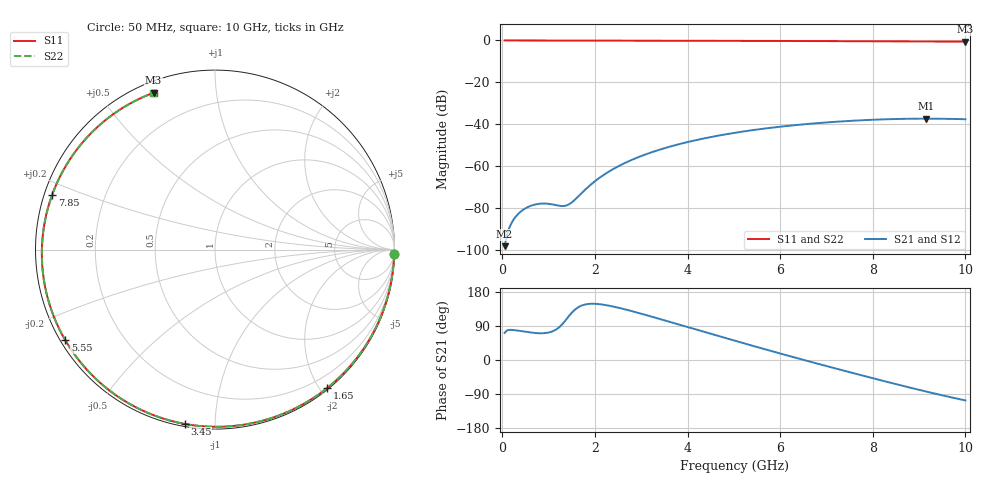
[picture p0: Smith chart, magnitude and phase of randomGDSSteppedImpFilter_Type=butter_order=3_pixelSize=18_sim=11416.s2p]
! freq	dB(S11)	phase(S11)	dB(S12)	phase(S12)
!  dB(S21)	phase(S21)	dB(S22)	phase(S22)
!S-par simulation data
#  GHz  S  DB  R 50
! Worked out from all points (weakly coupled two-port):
!   200 points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, 50 MHz to 10 GHz, reference 50 ohm
!   highest |S21| = -37.39 dB at 9.15 GHz (marker M1); lowest = -98.3 dB at 50 MHz (marker M2)
!   lowest |S11| = -0.6 dB at 10 GHz (marker M3), VSWR 31.46, Z = 2.33 + j34.1 ohm
!   |S11| at or under -10 dB: nowhere
!   |S22| runs from -0.6 to 0.0 dB; largest |S21 - S12| = 0
!   S11 on the Smith chart (normalised r, x): 50 MHz: 2, -75; 1.65 GHz: 0.02, -2.10; 3.45 GHz: 0.01, -0.84; 5.55 GHz: 0.01, -0.28; 7.85 GHz: 0.02, +0.16; 10 GHz: 0.05, +0.68
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0.05  -0.01 -1.5  -98.34 71.6  -98.34 71.6  -0.01 -1.5
0.5  -0.02 -15.8  -80.25 74.5  -80.25 74.5  -0.02 -15.8
0.85  -0.03 -26.7  -77.99 70.5  -77.99 70.5  -0.03 -26.7
1.35  -0.05 -41.9  -79.08 102.3  -79.08 102.3  -0.05 -41.9
1.5  -0.06 -46.4  -77.43 124.7  -77.43 124.7  -0.06 -46.4
1.65  -0.06 -50.9  -74.36 139.9  -74.36 139.9  -0.06 -50.9
1.75  -0.07 -53.8  -72.17 145.2  -72.17 145.2  -0.07 -53.8
2.1  -0.08 -63.8  -65.65 147.3  -65.65 147.3  -0.08 -63.8
2.45  -0.09 -73.6  -60.81 139.6  -60.81 139.6  -0.09 -73.6
2.9  -0.11 -85.7  -56.13 125.5  -56.13 125.5  -0.10 -85.7
3.4  -0.12 -98.6  -52.20 108.2  -52.20 108.2  -0.12 -98.6
3.45  -0.12 -99.9  -51.86 106.5  -51.86 106.5  -0.12 -99.9
4.2  -0.15 -118.2  -47.56 79.8  -47.56 79.8  -0.15 -118.2
5.05  -0.19 -137.7  -44.04 49.8  -44.04 49.8  -0.19 -137.7
5.55  -0.22 -148.8  -42.44 32.5  -42.44 32.5  -0.22 -148.8
6.15  -0.26 -161.8  -40.88 12.1  -40.88 12.1  -0.26 -161.8
6.7  -0.29 -173.7  -39.73 -6.2  -39.73 -6.2  -0.29 -173.6
7.25  -0.33 174.5  -38.80 -24.1  -38.80 -24.1  -0.33 174.5
7.85  -0.38 161.4  -38.05 -43.3  -38.05 -43.3  -0.38 161.4
8.35  -0.42 150.3  -37.64 -59.0  -37.64 -59.0  -0.42 150.3
9.15  -0.49 131.9  -37.39 -83.2  -37.39 -83.2  -0.49 132.0
10  -0.55 111.4  -37.66 -106.7  -37.66 -106.7  -0.55 111.5
